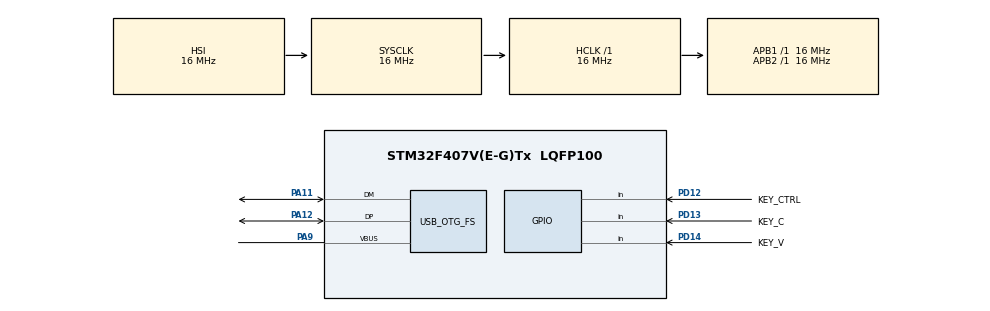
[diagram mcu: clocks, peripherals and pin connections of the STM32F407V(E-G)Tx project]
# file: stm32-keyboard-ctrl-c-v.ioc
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Mcu.Family=STM32F4
Mcu.Name=STM32F407V(E-G)Tx
Mcu.Package=LQFP100
NVIC.OTG_FS_IRQn=true\:0\:0\:false\:false\:true\:false\:true
NVIC.PriorityGroup=NVIC_PRIORITYGROUP_4
NVIC.TIM6_DAC_IRQn=true\:0\:0\:false\:false\:true\:true\:true
PA11.Mode=Device_Only
PA11.Signal=USB_OTG_FS_DM
PA12.Mode=Device_Only
PA12.Signal=USB_OTG_FS_DP
PA9.Mode=Activate_VBUS
PA9.Signal=USB_OTG_FS_VBUS
PD12.GPIO_Label=KEY_CTRL
PD12.GPIO_PuPd=GPIO_PULLUP
PD12.Signal=GPIO_Input
PD13.GPIO_Label=KEY_C
PD13.GPIO_PuPd=GPIO_PULLUP
PD13.Signal=GPIO_Input
PD14.GPIO_Label=KEY_V
PD14.GPIO_PuPd=GPIO_PULLUP
PD14.Signal=GPIO_Input
PH0-OSC_IN.Mode=HSE-External-Oscillator
PH0-OSC_IN.Signal=RCC_OSC_IN
PH1-OSC_OUT.Mode=HSE-External-Oscillator
PH1-OSC_OUT.Signal=RCC_OSC_OUT
ProjectManager.HeapSize=0x200
ProjectManager.StackSize=0x400
ProjectManager.TargetToolchain=STM32CubeIDE
RCC.48MHZClocksFreq_Value=48000000
RCC.AHBFreq_Value=16000000
RCC.APB1Freq_Value=16000000
RCC.APB2Freq_Value=16000000
RCC.CortexFreq_Value=16000000
RCC.HSE_VALUE=8000000
RCC.HSI_VALUE=16000000
RCC.LSE_VALUE=32768
RCC.PLLM=4
RCC.PLLN=72
RCC.PLLQ=3
RCC.SYSCLKFreq_VALUE=16000000
RCC.VCOOutputFreq_Value=144000000
TIM6.Period=63999
TIM6.Prescaler=3
USB_DEVICE.CLASS_NAME_FS=HID
USB_DEVICE.VirtualMode-HID_FS=Hid
USB_DEVICE.VirtualModeFS=Hid_FS
USB_OTG_FS.VirtualMode=Device_Only
VP_TIM6_VS_ClockSourceINT.Mode=Enable_Timer
VP_USB_DEVICE_VS_USB_DEVICE_HID_FS.Mode=HID_FS
board=custom

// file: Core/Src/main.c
/* USER CODE BEGIN Header */
/**
  ******************************************************************************
  * @file           : main.c
  * @brief          : Main program body
  ******************************************************************************
  * @attention
  *
  * <h2><center>&copy; Copyright (c) 2021 STMicroelectronics.
  * All rights reserved.</center></h2>
  *
  * This software component is licensed by ST under Ultimate Liberty license
  * SLA0044, the "License"; You may not use this file except in compliance with
  * the License. You may obtain a copy of the License at:
  *                             www.st.com/SLA0044
  *
  ******************************************************************************
  */
/* USER CODE END Header */
#include "main.h"
#include "usb_device.h"

/* USER CODE BEGIN Includes */
#include <stdbool.h>
#include "usbd_hid.h"
/* USER CODE END Includes */

/* USER CODE BEGIN PTD */
typedef struct
{
  uint8_t MODIFIER;
  uint8_t RESERVED;
  uint8_t KEYCODE1;
  uint8_t KEYCODE2;
  uint8_t KEYCODE3;
  uint8_t KEYCODE4;
  uint8_t KEYCODE5;
  uint8_t KEYCODE6;
} USB_HID_KeyboardTypedef_t;
/* USER CODE END PTD */

TIM_HandleTypeDef htim6;

/* USER CODE BEGIN PV */
USB_HID_KeyboardTypedef_t usbHIDKbdStruct = {0, 0, 0, 0, 0, 0, 0, 0};
bool key_CTRL_pressed = false, key_C_pressed = false, key_V_pressed = false;

extern USBD_HandleTypeDef hUsbDeviceFS;
extern bool time10msElapsed;
/* USER CODE END PV */

void SystemClock_Config(void);
static void MX_GPIO_Init(void);
static void MX_TIM6_Init(void);

/* USER CODE BEGIN 0 */
void task_keypad_polling(void)
{
  static uint8_t key_CTRL_pressed_count = 0, key_C_pressed_count = 0, key_V_pressed_count = 0;
  if (HAL_GPIO_ReadPin(KEY_CTRL_GPIO_Port, KEY_CTRL_Pin) == GPIO_PIN_RESET)
  {
    key_CTRL_pressed_count++;
    if (key_CTRL_pressed_count == 3)
    {
      key_CTRL_pressed_count = 0;
      key_CTRL_pressed = true;
    }
  }
  if (HAL_GPIO_ReadPin(KEY_C_GPIO_Port, KEY_C_Pin) == GPIO_PIN_RESET)
  {
    key_C_pressed_count++;
    if (key_C_pressed_count == 3)
    {
      key_C_pressed_count = 0;
      key_C_pressed = true;
    }
  }
  if (HAL_GPIO_ReadPin(KEY_V_GPIO_Port, KEY_V_Pin) == GPIO_PIN_RESET)
  {
    key_V_pressed_count++;
    if (key_V_pressed_count == 3)
    {
      key_V_pressed_count = 0;
      key_V_pressed = true;
    }
  }
}

void task_act_usb_hid_kbd()
{
  if (key_C_pressed)
  {
    key_C_pressed = false;
    if (key_CTRL_pressed)
    {
      key_CTRL_pressed = false;
      usbHIDKbdStruct.MODIFIER = 0x01; // press 'ctrl'
      usbHIDKbdStruct.KEYCODE1 = 0x06; // press 'c'
      USBD_HID_SendReport(&hUsbDeviceFS, (uint8_t *) &usbHIDKbdStruct, sizeof(usbHIDKbdStruct));
      HAL_Delay(50);
      usbHIDKbdStruct.MODIFIER = 0x00; // release key
      usbHIDKbdStruct.KEYCODE1 = 0x00; // release key
      USBD_HID_SendReport(&hUsbDeviceFS, (uint8_t *) &usbHIDKbdStruct, sizeof(usbHIDKbdStruct));
      HAL_Delay(50);
    }
    else
    {
      usbHIDKbdStruct.KEYCODE1 = 0x06; // press 'c'
      USBD_HID_SendReport(&hUsbDeviceFS, (uint8_t *) &usbHIDKbdStruct, sizeof(usbHIDKbdStruct));
      HAL_Delay(50);
      usbHIDKbdStruct.KEYCODE1 = 0x00; // release key
      USBD_HID_SendReport(&hUsbDeviceFS, (uint8_t *) &usbHIDKbdStruct, sizeof(usbHIDKbdStruct));
      HAL_Delay(50);
    }
  }
  if (key_V_pressed)
  {
    key_V_pressed = false;
    if (key_CTRL_pressed)
    {
      key_CTRL_pressed = false;
      usbHIDKbdStruct.MODIFIER = 0x01; // press 'ctrl'
      usbHIDKbdStruct.KEYCODE1 = 0x19; // press 'v'
      USBD_HID_SendReport(&hUsbDeviceFS, (uint8_t *) &usbHIDKbdStruct, sizeof(usbHIDKbdStruct));
      HAL_Delay(50);
      usbHIDKbdStruct.MODIFIER = 0x00; // release key
      usbHIDKbdStruct.KEYCODE1 = 0x00; // release key
      USBD_HID_SendReport(&hUsbDeviceFS, (uint8_t *) &usbHIDKbdStruct, sizeof(usbHIDKbdStruct));
      HAL_Delay(50);
    }
    else
    {
      usbHIDKbdStruct.KEYCODE1 = 0x19; // press 'v'
      USBD_HID_SendReport(&hUsbDeviceFS, (uint8_t *) &usbHIDKbdStruct, sizeof(usbHIDKbdStruct));
      HAL_Delay(50);
      usbHIDKbdStruct.KEYCODE1 = 0x00; // release key
      USBD_HID_SendReport(&hUsbDeviceFS, (uint8_t *) &usbHIDKbdStruct, sizeof(usbHIDKbdStruct));
      HAL_Delay(50);
    }
  }
}
/* USER CODE END 0 */

int main(void)
{

  /* MCU Configuration--------------------------------------------------------*/

  /* Reset of all peripherals, Initializes the Flash interface and the Systick. */
  HAL_Init();

  /* Configure the system clock */
  SystemClock_Config();

  /* Initialize all configured peripherals */
  MX_GPIO_Init();
  MX_USB_DEVICE_Init();
  MX_TIM6_Init();
  /* USER CODE BEGIN 2 */
  if (HAL_TIM_Base_Start_IT(&htim6) != HAL_OK)
  {
	  /* Starting Error */
	  Error_Handler();
  }
  /* USER CODE END 2 */

  /* Infinite loop */
  while (1)
  {

    /* USER CODE BEGIN 3 */
	if (time10msElapsed)
	{
		time10msElapsed = false;
		task_keypad_polling();
	}
	task_act_usb_hid_kbd();
	HAL_Delay(50);
  }
  /* USER CODE END 3 */
}

void SystemClock_Config(void)
{
  RCC_OscInitTypeDef RCC_OscInitStruct = {0};
  RCC_ClkInitTypeDef RCC_ClkInitStruct = {0};

  /** Configure the main internal regulator output voltage
  */
  __HAL_RCC_PWR_CLK_ENABLE();
  __HAL_PWR_VOLTAGESCALING_CONFIG(PWR_REGULATOR_VOLTAGE_SCALE1);
  /** Initializes the RCC Oscillators according to the specified parameters
  * in the RCC_OscInitTypeDef structure.
  */
  RCC_OscInitStruct.OscillatorType = RCC_OSCILLATORTYPE_HSI|RCC_OSCILLATORTYPE_HSE;
  RCC_OscInitStruct.HSEState = RCC_HSE_ON;
  RCC_OscInitStruct.HSIState = RCC_HSI_ON;
  RCC_OscInitStruct.HSICalibrationValue = RCC_HSICALIBRATION_DEFAULT;
  RCC_OscInitStruct.PLL.PLLState = RCC_PLL_ON;
  RCC_OscInitStruct.PLL.PLLSource = RCC_PLLSOURCE_HSE;
  RCC_OscInitStruct.PLL.PLLM = 4;
  RCC_OscInitStruct.PLL.PLLN = 72;
  RCC_OscInitStruct.PLL.PLLP = RCC_PLLP_DIV2;
  RCC_OscInitStruct.PLL.PLLQ = 3;
  if (HAL_RCC_OscConfig(&RCC_OscInitStruct) != HAL_OK)
  {
    Error_Handler();
  }
  /** Initializes the CPU, AHB and APB buses clocks
  */
  RCC_ClkInitStruct.ClockType = RCC_CLOCKTYPE_HCLK|RCC_CLOCKTYPE_SYSCLK
                              |RCC_CLOCKTYPE_PCLK1|RCC_CLOCKTYPE_PCLK2;
  RCC_ClkInitStruct.SYSCLKSource = RCC_SYSCLKSOURCE_HSI;
  RCC_ClkInitStruct.AHBCLKDivider = RCC_SYSCLK_DIV1;
  RCC_ClkInitStruct.APB1CLKDivider = RCC_HCLK_DIV1;
  RCC_ClkInitStruct.APB2CLKDivider = RCC_HCLK_DIV1;

  if (HAL_RCC_ClockConfig(&RCC_ClkInitStruct, FLASH_LATENCY_0) != HAL_OK)
  {
    Error_Handler();
  }
}

static void MX_TIM6_Init(void)
{

  TIM_MasterConfigTypeDef sMasterConfig = {0};

  htim6.Instance = TIM6;
  htim6.Init.Prescaler = 3;
  htim6.Init.CounterMode = TIM_COUNTERMODE_UP;
  htim6.Init.Period = 63999;
  htim6.Init.AutoReloadPreload = TIM_AUTORELOAD_PRELOAD_DISABLE;
  if (HAL_TIM_Base_Init(&htim6) != HAL_OK)
  {
    Error_Handler();
  }
  sMasterConfig.MasterOutputTrigger = TIM_TRGO_RESET;
  sMasterConfig.MasterSlaveMode = TIM_MASTERSLAVEMODE_DISABLE;
  if (HAL_TIMEx_MasterConfigSynchronization(&htim6, &sMasterConfig) != HAL_OK)
  {
    Error_Handler();
  }

}

static void MX_GPIO_Init(void)
{
  GPIO_InitTypeDef GPIO_InitStruct = {0};

  /* GPIO Ports Clock Enable */
  __HAL_RCC_GPIOH_CLK_ENABLE();
  __HAL_RCC_GPIOD_CLK_ENABLE();
  __HAL_RCC_GPIOA_CLK_ENABLE();

  /*Configure GPIO pins : KEY_CTRL_Pin KEY_C_Pin KEY_V_Pin */
  GPIO_InitStruct.Pin = KEY_CTRL_Pin|KEY_C_Pin|KEY_V_Pin;
  GPIO_InitStruct.Mode = GPIO_MODE_INPUT;
  GPIO_InitStruct.Pull = GPIO_PULLUP;
  HAL_GPIO_Init(GPIOD, &GPIO_InitStruct);

}

void Error_Handler(void)
{
  __disable_irq();
  while (1)
  {
  }
}

/************************ (C) COPYRIGHT STMicroelectronics *****END OF FILE****/
